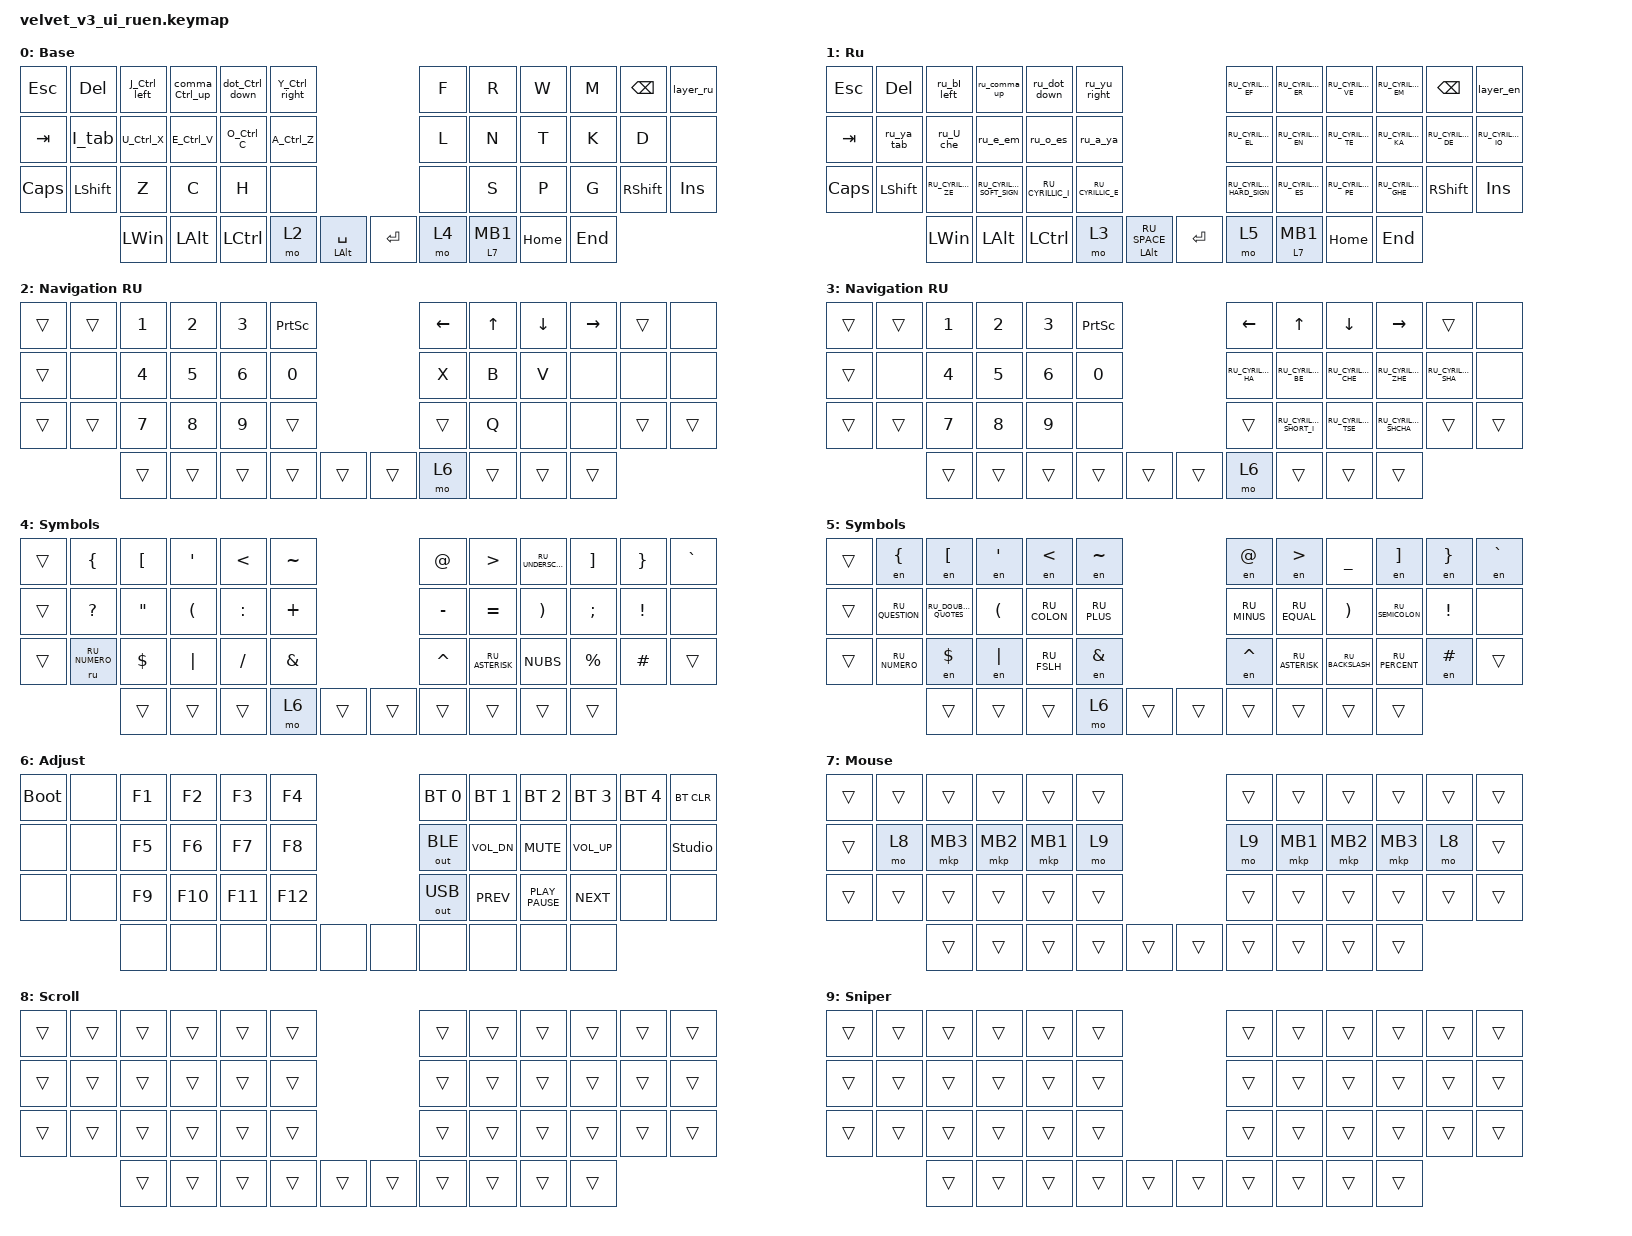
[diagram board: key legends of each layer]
#include "keys_ru.h"
#include <dt-bindings/zmk/input_transform.h>
#include <input/processors.dtsi>
#include <zephyr/dt-bindings/input/input-event-codes.h>
#include <behaviors.dtsi>
#include <dt-bindings/zmk/bt.h>
#include <dt-bindings/zmk/keys.h>
#include <dt-bindings/zmk/outputs.h>
#include <dt-bindings/zmk/pointing.h>

/ {
    behaviors {
        cap_sen: cap_sen {
            compatible = "zmk,behavior-hold-tap";
            label = "CAP_SEN";
            bindings = <&mo>, <&mkp>;

            #binding-cells = <2>;
            tapping-term-ms = <150>;
            hold-while-undecided;
        };

        O_Ctrl_C: O_Ctrl_C {
            compatible = "zmk,behavior-mod-morph";
            label = "O_CTRL_C";
            bindings = <&kp O>, <&kp LC(C)>;

            #binding-cells = <0>;
            mods = <(MOD_LCTL)>;
        };

        E_Ctrl_V: E_Ctrl_V {
            compatible = "zmk,behavior-mod-morph";
            label = "E_CTRL_V";
            bindings = <&kp E>, <&kp LC(V)>;

            #binding-cells = <0>;
            mods = <(MOD_LCTL)>;
        };

        U_Ctrl_X: U_Ctrl_X {
            compatible = "zmk,behavior-mod-morph";
            label = "U_CTRL_X";
            bindings = <&kp U>, <&kp LC(X)>;

            #binding-cells = <0>;
            mods = <(MOD_LCTL)>;
        };

        A_Ctrl_Z: A_Ctrl_Z {
            compatible = "zmk,behavior-mod-morph";
            label = "A_CTRL_Z";
            bindings = <&kp A>, <&kp LC(Z)>;

            #binding-cells = <0>;
            mods = <(MOD_LCTL)>;
        };

        J_Ctrl_left: J_Ctrl_left {
            compatible = "zmk,behavior-mod-morph";
            label = "J_CTRL_LEFT";
            bindings = <&kp J>, <&kp LC(LEFT_ARROW)>;

            #binding-cells = <0>;
            mods = <(MOD_LCTL)>;
        };

        comma_Ctrl_up: comma_Ctrl_up {
            compatible = "zmk,behavior-mod-morph";
            label = "COMMA_CTRL_UP";
            bindings = <&kp COMMA>, <&kp LC(UP)>;

            #binding-cells = <0>;
            mods = <(MOD_LCTL)>;
        };

        dot_Ctrl_down: dot_Ctrl_down {
            compatible = "zmk,behavior-mod-morph";
            label = "DOT_CTRL_DOWN";
            bindings = <&kp DOT>, <&kp LC(DOWN)>;

            #binding-cells = <0>;
            mods = <(MOD_LCTL)>;
        };

        Y_Ctrl_right: Y_Ctrl_right {
            compatible = "zmk,behavior-mod-morph";
            label = "Y_CTRL_RIGHT";
            bindings = <&kp Y>, <&kp LC(RIGHT)>;

            #binding-cells = <0>;
            mods = <(MOD_LCTL)>;
        };

        I_tab: I_tab {
            compatible = "zmk,behavior-mod-morph";
            label = "I_TAB";
            bindings = <&kp I>, <&kp TAB>;

            #binding-cells = <0>;
            mods = <(MOD_LCTL|MOD_LALT)>;
            keep-mods = <(MOD_LCTL|MOD_LALT)>;
        };

        ru_ya_tab: ru_ya_tab {
            compatible = "zmk,behavior-mod-morph";
            label = "RU_YA_TAB";
            bindings = <&kp RU_CYRILLIC_YA>, <&kp TAB>;

            #binding-cells = <0>;
            mods = <(MOD_LCTL|MOD_LALT)>;
            keep-mods = <(MOD_LCTL|MOD_LALT)>;
        };

        ru_U_che: ru_U_che {
            compatible = "zmk,behavior-mod-morph";
            label = "RU_U_CHE";
            bindings = <&kp RU_CYRILLIC_U>, <&kp LC(RU_CYRILLIC_CHE)>;

            #binding-cells = <0>;
            mods = <(MOD_LCTL)>;
        };

        ru_e_em: ru_e_em {
            compatible = "zmk,behavior-mod-morph";
            label = "RU_E_EM";
            bindings = <&kp RU_CYRILLIC_IE>, <&kp LC(RU_CYRILLIC_EM)>;

            #binding-cells = <0>;
            mods = <(MOD_LCTL)>;
        };

        ru_o_es: ru_o_es {
            compatible = "zmk,behavior-mod-morph";
            label = "RU_O_ES";
            bindings = <&kp RU_CYRILLIC_O>, <&kp LC(RU_CYRILLIC_ES)>;

            #binding-cells = <0>;
            mods = <(MOD_LCTL)>;
        };

        ru_a_ya: ru_a_ya {
            compatible = "zmk,behavior-mod-morph";
            label = "RU_A_YA";
            bindings = <&kp RU_CYRILLIC_A>, <&kp LC(RU_CYRILLIC_YA)>;

            #binding-cells = <0>;
            mods = <(MOD_LCTL)>;
        };

        ru_bI_left: ru_bI_left {
            compatible = "zmk,behavior-mod-morph";
            label = "RU_BI_LEFT";
            bindings = <&kp RU_CYRILLIC_YERU>, <&kp LC(LEFT_ARROW)>;

            #binding-cells = <0>;
            mods = <(MOD_LCTL)>;
        };

        ru_comma_up: ru_comma_up {
            compatible = "zmk,behavior-mod-morph";
            label = "RU_COMMA_UP";
            bindings = <&kp RU_COMMA>, <&kp LC(UP)>;

            #binding-cells = <0>;
            mods = <(MOD_LCTL)>;
        };

        ru_dot_down: ru_dot_down {
            compatible = "zmk,behavior-mod-morph";
            label = "RU_DOT_DOWN";
            bindings = <&kp RU_DOT>, <&kp LC(DOWN)>;

            #binding-cells = <0>;
            mods = <(MOD_LCTL)>;
        };

        ru_yu_right: ru_yu_right {
            compatible = "zmk,behavior-mod-morph";
            label = "RU_YU_RIGHT";
            bindings = <&kp RU_CYRILLIC_YU>, <&kp LC(RIGHT)>;

            #binding-cells = <0>;
            mods = <(MOD_LCTL)>;
        };
    };

    combos {
        compatible = "zmk,combos";

        cmben {
            bindings = <&layer_en>;
            key-positions = <3 4>;
            layers = <1>;
        };

        cmbru {
            bindings = <&layer_ru>;
            key-positions = <3 4>;
            layers = <0>;
        };
    };

    macros {
        to_ru: to_ru {
            compatible = "zmk,behavior-macro";
            #binding-cells = <0>;
            bindings = <&kp LS(LC(N2))>;
            label = "TO_RU";
            wait-ms = <0>;
            tap-ms = <30>;
        };

        to_en: to_en {
            compatible = "zmk,behavior-macro";
            #binding-cells = <0>;
            bindings = <&kp LS(LC(N1))>;
            label = "TO_EN";
            wait-ms = <0>;
            tap-ms = <30>;
        };

        layer_en: layer_en {
            compatible = "zmk,behavior-macro";
            #binding-cells = <0>;
            bindings = <&to 0 &to_en>;
            label = "LAYER_EN";
            wait-ms = <0>;
            tap-ms = <30>;
        };

        layer_ru: layer_ru {
            compatible = "zmk,behavior-macro";
            #binding-cells = <0>;
            bindings = <&to 1 &to_ru>;
            label = "LAYER_RU";
            tap-ms = <30>;
            wait-ms = <0>;
        };

        en: en {
            compatible = "zmk,behavior-macro-one-param";
            #binding-cells = <1>;
            bindings =
                <&to_en>,
                <&macro_press>,
                <&macro_param_1to1 &kp MACRO_PLACEHOLDER>,
                <&macro_pause_for_release>,
                <&macro_release>,
                <&macro_param_1to1 &kp MACRO_PLACEHOLDER>,
                <&macro_tap>,
                <&to_ru>;

            label = "EN";
            wait-ms = <0>;
            tap-ms = <30>;
        };

        ru: ru {
            compatible = "zmk,behavior-macro-one-param";
            #binding-cells = <1>;
            bindings =
                <&to_ru &macro_param_1to1 &kp MACRO_PLACEHOLDER>,
                <&macro_wait_time 10>,
                <&to_en>,
                <&macro_wait_time 10>;

            label = "RU";
        };
    };

    keymap {
        compatible = "zmk,keymap";

        BASE_EN {
            bindings = <
&kp ESC   &kp DELETE  &J_Ctrl_left  &comma_Ctrl_up  &dot_Ctrl_down  &Y_Ctrl_right                                 &kp F  &kp R           &kp W     &kp M    &kp BACKSPACE  &layer_ru
&kp TAB   &I_tab      &U_Ctrl_X     &E_Ctrl_V       &O_Ctrl_C       &A_Ctrl_Z                                     &kp L  &kp N           &kp T     &kp K    &kp D          &none
&kp CAPS  &kp LSHIFT  &kp Z         &kp C           &kp H           &none                                         &none  &kp S           &kp P     &kp G    &kp RSHFT      &kp INS
                      &kp LWIN      &kp LALT        &kp LCTRL       &mo 2          &mt LEFT_ALT SPACE    &kp RET  &mo 4  &cap_sen 7 MB1  &kp HOME  &kp END
            >;

            display-name = "Base";
            label = "BASE_EN";
        };

        BASE_RU {
            display-name = "Ru";
            bindings = <
&kp ESC   &kp DELETE  &ru_bI_left         &ru_comma_up               &ru_dot_down       &ru_yu_right                                         &kp RU_CYRILLIC_EF         &kp RU_CYRILLIC_ER  &kp RU_CYRILLIC_VE  &kp RU_CYRILLIC_EM   &kp BACKSPACE       &layer_en
&kp TAB   &ru_ya_tab  &ru_U_che           &ru_e_em                   &ru_o_es           &ru_a_ya                                             &kp RU_CYRILLIC_EL         &kp RU_CYRILLIC_EN  &kp RU_CYRILLIC_TE  &kp RU_CYRILLIC_KA   &kp RU_CYRILLIC_DE  &kp RU_CYRILLIC_IO
&kp CAPS  &kp LSHFT   &kp RU_CYRILLIC_ZE  &kp RU_CYRILLIC_SOFT_SIGN  &kp RU_CYRILLIC_I  &kp RU_CYRILLIC_E                                    &kp RU_CYRILLIC_HARD_SIGN  &kp RU_CYRILLIC_ES  &kp RU_CYRILLIC_PE  &kp RU_CYRILLIC_GHE  &kp RSHFT           &kp INS
                      &kp LEFT_WIN        &kp LEFT_ALT               &kp LCTRL          &mo 3              &mt LEFT_ALT RU_SPACE    &kp RET  &mo 5                      &cap_sen 7 MB1      &kp HOME            &kp END
            >;

            label = "BASE_RU";
        };

        nav_en {
            display-name = "Navigation RU";
            bindings = <
&trans  &trans  &kp N1  &kp N2  &kp N3  &kp PRINTSCREEN                    &kp LEFT_ARROW  &kp UP  &kp DOWN  &kp RIGHT  &trans  &none
&trans  &none   &kp N4  &kp N5  &kp N6  &kp N0                             &kp X           &kp B   &kp V     &none      &none   &none
&trans  &trans  &kp N7  &kp N8  &kp N9  &trans                             &trans          &kp Q   &none     &none      &trans  &trans
                &trans  &trans  &trans  &trans           &trans    &trans  &mo 6           &trans  &trans    &trans
            >;

            label = "Navigation_EN";
        };

        nav_ru {
            bindings = <
&trans  &trans  &kp N1  &kp N2  &kp N3  &kp PRINTSCREEN                    &kp LEFT_ARROW      &kp UP                   &kp DOWN             &kp RIGHT              &trans               &none
&trans  &none   &kp N4  &kp N5  &kp N6  &kp N0                             &kp RU_CYRILLIC_HA  &kp RU_CYRILLIC_BE       &kp RU_CYRILLIC_CHE  &kp RU_CYRILLIC_ZHE    &kp RU_CYRILLIC_SHA  &none
&trans  &trans  &kp N7  &kp N8  &kp N9  &none                              &trans              &kp RU_CYRILLIC_SHORT_I  &kp RU_CYRILLIC_TSE  &kp RU_CYRILLIC_SHCHA  &trans               &trans
                &trans  &trans  &trans  &trans           &trans    &trans  &mo 6               &trans                   &trans               &trans
            >;

            display-name = "Navigation RU";
            label = "Navigation_RU";
        };

        sym_en {
            bindings = <
&trans  &kp LEFT_BRACE  &kp LEFT_BRACKET  &kp SQT   &kp LESS_THAN  &kp TILDE                        &kp AT_SIGN  &kp GREATER_THAN  &kp RU_UNDERSCORE  &kp RIGHT_BRACKET  &kp RIGHT_BRACE  &kp GRAVE
&trans  &kp QMARK       &kp DQT           &kp LPAR  &kp COLON      &kp PLUS                         &kp MINUS    &kp EQUAL         &kp RPAR           &kp SEMI           &kp EXCL         &none
&trans  &ru RU_NUMERO   &kp DOLLAR        &kp PIPE  &kp FSLH       &kp AMPERSAND                    &kp CARET    &kp RU_ASTERISK   &kp NUBS           &kp PRCNT          &kp HASH         &trans
                        &trans            &trans    &trans         &mo 6          &trans    &trans  &trans       &trans            &trans             &trans
            >;

            display-name = "Symbols";
            label = "sym_en";
        };

        sym_ru {
            display-name = "Symbols";
            bindings = <
&trans  &en LEFT_BRACE   &en LEFT_BRACKET      &en SQT   &en LESS_THAN  &en TILDE                        &en AT_SIGN   &en GREATER_THAN  &kp UNDER         &en RIGHT_BRACKET  &en RIGHT_BRACE  &en GRAVE
&trans  &kp RU_QUESTION  &kp RU_DOUBLE_QUOTES  &kp LPAR  &kp RU_COLON   &kp RU_PLUS                      &kp RU_MINUS  &kp RU_EQUAL      &kp RPAR          &kp RU_SEMICOLON   &kp EXCL         &none
&trans  &kp RU_NUMERO    &en DOLLAR            &en PIPE  &kp RU_FSLH    &en AMPERSAND                    &en CARET     &kp RU_ASTERISK   &kp RU_BACKSLASH  &kp RU_PERCENT     &en HASH         &trans
                         &trans                &trans    &trans         &mo 6          &trans    &trans  &trans        &trans            &trans            &trans
            >;

            label = "sym_ru";
        };

        adj {
            bindings = <
&bootloader  &none  &kp F1  &kp F2   &kp F3   &kp F4                   &bt BT_SEL 0  &bt BT_SEL 1  &bt BT_SEL 2      &bt BT_SEL 3  &bt BT_SEL 4  &bt BT_CLR
&none        &none  &kp F5  &kp F6   &kp F7   &kp F8                   &out OUT_BLE  &kp C_VOL_DN  &kp K_MUTE        &kp C_VOL_UP  &none         &studio_unlock
&none        &none  &kp F9  &kp F10  &kp F11  &kp F12                  &out OUT_USB  &kp K_PREV    &kp K_PLAY_PAUSE  &kp K_NEXT    &none         &none
                    &none   &none    &none    &none    &none    &none  &none         &none         &none             &none
            >;

            display-name = "Adjust";
        };

        mouse {
            bindings = <
&trans  &trans  &trans    &trans    &trans    &trans                    &trans  &trans    &trans    &trans    &trans  &trans
&trans  &mo 8   &mkp MB3  &mkp MB2  &mkp MB1  &mo 9                     &mo 9   &mkp MB1  &mkp MB2  &mkp MB3  &mo 8   &trans
&trans  &trans  &trans    &trans    &trans    &trans                    &trans  &trans    &trans    &trans    &trans  &trans
                &trans    &trans    &trans    &trans  &trans    &trans  &trans  &trans    &trans    &trans
            >;

            display-name = "Mouse";
        };

        scroll {
            bindings = <
&trans  &trans  &trans  &trans  &trans  &trans                    &trans  &trans  &trans  &trans  &trans  &trans
&trans  &trans  &trans  &trans  &trans  &trans                    &trans  &trans  &trans  &trans  &trans  &trans
&trans  &trans  &trans  &trans  &trans  &trans                    &trans  &trans  &trans  &trans  &trans  &trans
                &trans  &trans  &trans  &trans  &trans    &trans  &trans  &trans  &trans  &trans
            >;

            display-name = "Scroll";
        };

        sniper {
            bindings = <
&trans  &trans  &trans  &trans  &trans  &trans                    &trans  &trans  &trans  &trans  &trans  &trans
&trans  &trans  &trans  &trans  &trans  &trans                    &trans  &trans  &trans  &trans  &trans  &trans
&trans  &trans  &trans  &trans  &trans  &trans                    &trans  &trans  &trans  &trans  &trans  &trans
                &trans  &trans  &trans  &trans  &trans    &trans  &trans  &trans  &trans  &trans
            >;

            display-name = "Sniper";
        };
    };
};

&trackball { cpi = <1000>; };

&trackball_listener {
    input-processors = <&zip_xy_scaler 9 20>;

    scroller {
        layers = <7>;
        input-processors =
            <&zip_xy_transform INPUT_TRANSFORM_Y_INVERT>,
            <&zip_xy_scaler 1 32>,
            <&zip_xy_to_scroll_mapper>;
    };

    sniper {
        layers = <8>;
        input-processors = <&zip_xy_scaler 1 4>;
    };
};
